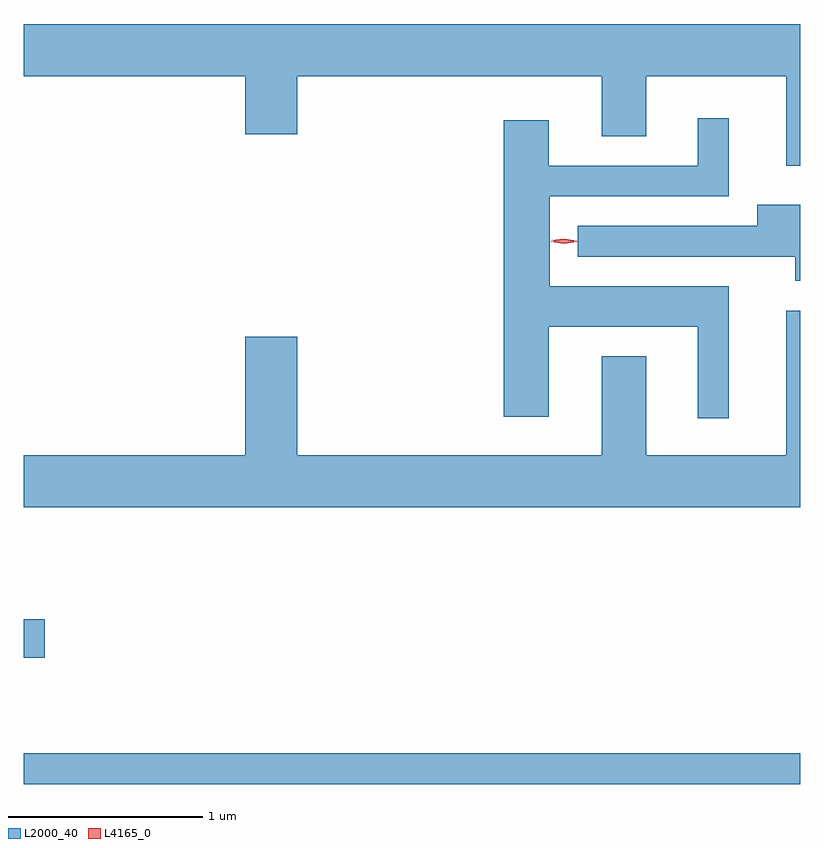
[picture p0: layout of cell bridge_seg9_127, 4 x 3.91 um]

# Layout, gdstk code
import gdstk
lib = gdstk.Library(unit=1e-6, precision=1e-09)
def R(c, l, rs):  # rectangles x0, y0, x1, y1
    for r in rs: c.add(gdstk.rectangle(r[:2], r[2:], *l))
def P(c, l, *ps):  # polygons
    for p in ps: c.add(gdstk.Polygon(p, *l))
L2000_40 = (2000, 40)
L4165_0 = (4165, 0)

bridge_seg9_127 = lib.new_cell('bridge_seg9_127')
R(bridge_seg9_127, L2000_40, [(1312.834,2014.811,1316.834,2014.969), (1312.834,2015.461,1312.944,2015.659)])
P(bridge_seg9_127, L2000_40, [(1316.834,2018.724),(1312.834,2018.724),(1312.834,2018.456),(1313.976,2018.456),(1313.976,2018.156),(1314.244,2018.156),(1314.244,2018.456),(1315.811,2018.456),(1315.811,2018.146),(1316.039,2018.146),(1316.039,2018.456),(1316.761,2018.456),(1316.761,2017.993),(1316.834,2017.993)],
  [(1316.464,2017.374),(1315.544,2017.374),(1315.544,2017.836),(1316.464,2017.836),(1316.464,2018.238),(1316.306,2018.238),(1316.306,2017.994),(1315.539,2017.994),(1315.539,2018.229),(1315.306,2018.229),(1315.306,2016.701),(1315.539,2016.701),(1315.539,2017.166),(1316.306,2017.166),(1316.306,2016.693),(1316.464,2016.693)],
  [(1316.834,2017.794),(1316.611,2017.794),(1316.611,2017.684),(1315.688,2017.684),(1315.688,2017.526),(1316.806,2017.526),(1316.806,2017.401),(1316.834,2017.401)],
  [(1316.834,2017.248),(1316.761,2017.248),(1316.761,2016.504),(1316.039,2016.504),(1316.039,2017.014),(1315.811,2017.014),(1315.811,2016.504),(1314.244,2016.504),(1314.244,2017.114),(1313.976,2017.114),(1313.976,2016.504),(1312.834,2016.504),(1312.834,2016.236),(1316.834,2016.236)])
P(bridge_seg9_127, L4165_0, [(1315.617,2017.592),(1315.548,2017.602),(1315.547,2017.602),(1315.548,2017.603),(1315.617,2017.612),(1315.686,2017.603),(1315.686,2017.602),(1315.686,2017.602)],
  [(1315.616,2017.599),(1315.551,2017.61),(1315.55,2017.61),(1315.551,2017.611),(1315.617,2017.619),(1315.682,2017.608),(1315.683,2017.608),(1315.682,2017.607)])

lib.write_gds('bridge_seg9_127.gds')
